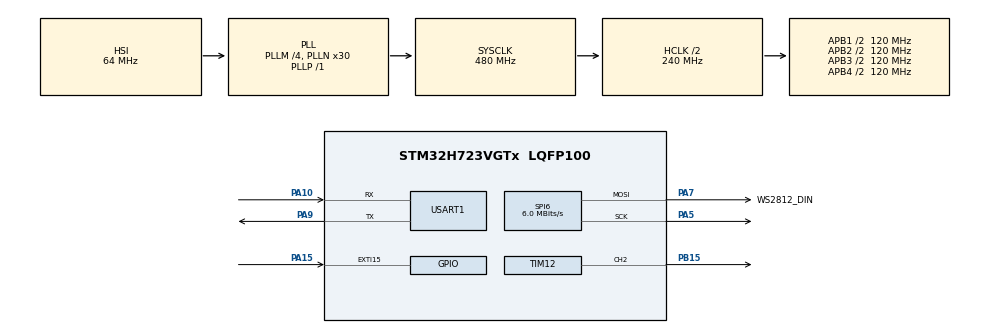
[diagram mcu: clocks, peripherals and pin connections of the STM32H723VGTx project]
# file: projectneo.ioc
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CORTEX_M7.default_mode_Activation=1
Mcu.Family=STM32H7
Mcu.Name=STM32H723VGTx
Mcu.Package=LQFP100
NVIC.EXTI15_10_IRQn=true\:0\:0\:false\:false\:true\:true\:true\:true
NVIC.PriorityGroup=NVIC_PRIORITYGROUP_4
PA10.Mode=Asynchronous
PA10.Signal=USART1_RX
PA13(JTMS/SWDIO).Signal=DEBUG_JTMS-SWDIO
PA14(JTCK/SWCLK).Signal=DEBUG_JTCK-SWCLK
PA15(JTDI).GPIO_PuPd=GPIO_PULLDOWN
PA15(JTDI).Signal=GPXTI15
PA5.GPIO_Speed=GPIO_SPEED_FREQ_HIGH
PA5.Mode=TX_Only_Simplex_Unidirect_Master
PA5.Signal=SPI6_SCK
PA7.GPIO_Label=WS2812_DIN
PA7.GPIO_Speed=GPIO_SPEED_FREQ_HIGH
PA7.Mode=TX_Only_Simplex_Unidirect_Master
PA7.Signal=SPI6_MOSI
PA9.Mode=Asynchronous
PA9.Signal=USART1_TX
PB15.Signal=S_TIM12_CH2
PH0-OSC_IN.Mode=HSE-External-Oscillator
PH0-OSC_IN.Signal=RCC_OSC_IN
PH1-OSC_OUT.Mode=HSE-External-Oscillator
PH1-OSC_OUT.Signal=RCC_OSC_OUT
ProjectManager.HeapSize=0x200
ProjectManager.StackSize=0x400
ProjectManager.TargetToolchain=CMake
RCC.ADCFreq_Value=129000000
RCC.APB1Freq_Value=120000000
RCC.APB2Freq_Value=120000000
RCC.APB3Freq_Value=120000000
RCC.APB4Freq_Value=120000000
RCC.CortexFreq_Value=480000000
RCC.D1PPRE=RCC_APB3_DIV2
RCC.D2PPRE1=RCC_APB1_DIV2
RCC.D2PPRE2=RCC_APB2_DIV2
RCC.D3PPRE=RCC_APB4_DIV2
RCC.DIVM1=4
RCC.DIVN1=30
RCC.DIVP1=1
RCC.HCLKFreq_Value=240000000
RCC.HPRE=RCC_HCLK_DIV2
RCC.HSE_VALUE=24000000
RCC.PLL2FRACN=0
RCC.PLL3FRACN=0
RCC.PLLFRACN=0
RCC.SPI6CLockSelection=RCC_SPI6CLKSOURCE_HSE
RCC.SYSCLKFreq_VALUE=480000000
RCC.SYSCLKSource=RCC_SYSCLKSOURCE_PLLCLK
RCC.USBFreq_Value=240000000
SH.S_TIM12_CH2.0=TIM12_CH2,PWM Generation2 CH2
SPI6.BaudRatePrescaler=SPI_BAUDRATEPRESCALER_4
SPI6.CalculateBaudRate=6.0 MBits/s
SPI6.DataSize=SPI_DATASIZE_8BIT
SPI6.Direction=SPI_DIRECTION_2LINES_TXONLY
SPI6.Mode=SPI_MODE_MASTER
SPI6.VirtualType=VM_MASTER
TIM12.Channel-PWM\ Generation2\ CH2=TIM_CHANNEL_2
TIM12.Prescaler=59
USART1.VirtualMode-Asynchronous=VM_ASYNC
VP_MEMORYMAP_VS_MEMORYMAP.Mode=CurAppReg
board=custom

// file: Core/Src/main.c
/* USER CODE BEGIN Header */
/**
  ******************************************************************************
  * @file           : main.c
  * @brief          : Main program body
  ******************************************************************************
  * @attention
  *
  * Copyright (c) 2026 STMicroelectronics.
  * All rights reserved.
  *
  * This software is licensed under terms that can be found in the LICENSE file
  * in the root directory of this software component.
  * If no LICENSE file comes with this software, it is provided AS-IS.
  *
  ******************************************************************************
  */
/* USER CODE END Header */
#include "main.h"

/* USER CODE BEGIN Includes */
#include "../../App/ws2812_encode.h"
/* USER CODE END Includes */

SPI_HandleTypeDef hspi6;

TIM_HandleTypeDef htim12;

UART_HandleTypeDef huart1;

void SystemClock_Config(void);
static void MPU_Config(void);
static void MX_GPIO_Init(void);
static void MX_TIM12_Init(void);
static void MX_USART1_UART_Init(void);
static void MX_SPI6_Init(void);

/* USER CODE BEGIN 0 */
volatile uint32_t flag=0;
/* USER CODE END 0 */

int main(void)
{

  /* MPU Configuration--------------------------------------------------------*/
  MPU_Config();

  /* MCU Configuration--------------------------------------------------------*/

  /* Reset of all peripherals, Initializes the Flash interface and the Systick. */
  HAL_Init();

  /* Configure the system clock */
  SystemClock_Config();

  /* Initialize all configured peripherals */
  MX_GPIO_Init();
  MX_TIM12_Init();
  MX_USART1_UART_Init();
  MX_SPI6_Init();
  /* USER CODE BEGIN 2 */
  uint8_t rx_byte;
  uint8_t tx_byte='D';
  uint8_t spi_buf[24];
  uint32_t last_color_tick=0;
  uint8_t color_idx=0;
  const uint8_t palette[4][3] = { {0,255,0}, {255,0,0}, {0,0,255}, {128,255,0} };//GRB顺序，红绿蓝橙
  uint32_t beep_until=0;
  uint8_t tone_idx=0;//音调编号
  HAL_TIM_PWM_Start(&htim12, TIM_CHANNEL_2);
  __HAL_TIM_SET_COMPARE(&htim12, TIM_CHANNEL_2, 0);//CRR=0时静音
  /* USER CODE END 2 */

  /* Infinite loop */
  /* USER CODE BEGIN WHILE */
  while (1)
  {
    if (flag == 1) {
      HAL_UART_Transmit(&huart1,&tx_byte, 1, 100);
      flag = 0;
      tone_idx= tone_idx^1;//tone_idx与1做异或，在0与1切换
      if (tone_idx) {
        __HAL_TIM_SET_AUTORELOAD(&htim12,1999);//2kHz=4mHz/2000
        __HAL_TIM_SET_COMPARE(&htim12, TIM_CHANNEL_2, 1000);//占空比50%
      }else {
        __HAL_TIM_SET_AUTORELOAD(&htim12,999);//4kHz=4mHz/1000
        __HAL_TIM_SET_COMPARE(&htim12, TIM_CHANNEL_2, 700);//占空比70%
      }
      beep_until = HAL_GetTick()+200;
    }
    if (beep_until!=0&&HAL_GetTick()>=beep_until) {
      __HAL_TIM_SET_COMPARE(&htim12, TIM_CHANNEL_2, 0);
      beep_until = 0;
    }
      HAL_StatusTypeDef st=HAL_UART_Receive(&huart1, &rx_byte, 1, 100);
      if (st==HAL_OK) {
        HAL_UART_Transmit(&huart1, &rx_byte, 1, 100);
      }
    if (HAL_GetTick()-last_color_tick>1000)
    {
     last_color_tick=HAL_GetTick();
      ws2812_encode(palette[color_idx][0],palette[color_idx][1],palette[color_idx][2],spi_buf);
      HAL_SPI_Transmit(&hspi6,spi_buf,24,100);
      uint32_t t0=HAL_GetTick();
      while(HAL_GetTick()-t0<2) {}
      color_idx=(color_idx+1)%4;
    }

    /* USER CODE END WHILE */

  }
}

void SystemClock_Config(void)
{
  RCC_OscInitTypeDef RCC_OscInitStruct = {0};
  RCC_ClkInitTypeDef RCC_ClkInitStruct = {0};

  /** Supply configuration update enable
  */
  HAL_PWREx_ConfigSupply(PWR_LDO_SUPPLY);

  /** Configure the main internal regulator output voltage
  */
  __HAL_PWR_VOLTAGESCALING_CONFIG(PWR_REGULATOR_VOLTAGE_SCALE0);

  while(!__HAL_PWR_GET_FLAG(PWR_FLAG_VOSRDY)) {}

  /** Initializes the RCC Oscillators according to the specified parameters
  * in the RCC_OscInitTypeDef structure.
  */
  RCC_OscInitStruct.OscillatorType = RCC_OSCILLATORTYPE_HSI|RCC_OSCILLATORTYPE_HSE;
  RCC_OscInitStruct.HSEState = RCC_HSE_ON;
  RCC_OscInitStruct.HSIState = RCC_HSI_DIV1;
  RCC_OscInitStruct.HSICalibrationValue = 64;
  RCC_OscInitStruct.PLL.PLLState = RCC_PLL_ON;
  RCC_OscInitStruct.PLL.PLLSource = RCC_PLLSOURCE_HSI;
  RCC_OscInitStruct.PLL.PLLM = 4;
  RCC_OscInitStruct.PLL.PLLN = 30;
  RCC_OscInitStruct.PLL.PLLP = 1;
  RCC_OscInitStruct.PLL.PLLQ = 2;
  RCC_OscInitStruct.PLL.PLLR = 2;
  RCC_OscInitStruct.PLL.PLLRGE = RCC_PLL1VCIRANGE_3;
  RCC_OscInitStruct.PLL.PLLVCOSEL = RCC_PLL1VCOWIDE;
  RCC_OscInitStruct.PLL.PLLFRACN = 0;
  if (HAL_RCC_OscConfig(&RCC_OscInitStruct) != HAL_OK)
  {
    Error_Handler();
  }

  /** Initializes the CPU, AHB and APB buses clocks
  */
  RCC_ClkInitStruct.ClockType = RCC_CLOCKTYPE_HCLK|RCC_CLOCKTYPE_SYSCLK
                              |RCC_CLOCKTYPE_PCLK1|RCC_CLOCKTYPE_PCLK2
                              |RCC_CLOCKTYPE_D3PCLK1|RCC_CLOCKTYPE_D1PCLK1;
  RCC_ClkInitStruct.SYSCLKSource = RCC_SYSCLKSOURCE_PLLCLK;
  RCC_ClkInitStruct.SYSCLKDivider = RCC_SYSCLK_DIV1;
  RCC_ClkInitStruct.AHBCLKDivider = RCC_HCLK_DIV2;
  RCC_ClkInitStruct.APB3CLKDivider = RCC_APB3_DIV2;
  RCC_ClkInitStruct.APB1CLKDivider = RCC_APB1_DIV2;
  RCC_ClkInitStruct.APB2CLKDivider = RCC_APB2_DIV2;
  RCC_ClkInitStruct.APB4CLKDivider = RCC_APB4_DIV2;

  if (HAL_RCC_ClockConfig(&RCC_ClkInitStruct, FLASH_LATENCY_3) != HAL_OK)
  {
    Error_Handler();
  }
}

static void MX_SPI6_Init(void)
{

  /* SPI6 parameter configuration*/
  hspi6.Instance = SPI6;
  hspi6.Init.Mode = SPI_MODE_MASTER;
  hspi6.Init.Direction = SPI_DIRECTION_2LINES_TXONLY;
  hspi6.Init.DataSize = SPI_DATASIZE_8BIT;
  hspi6.Init.CLKPolarity = SPI_POLARITY_LOW;
  hspi6.Init.CLKPhase = SPI_PHASE_1EDGE;
  hspi6.Init.NSS = SPI_NSS_SOFT;
  hspi6.Init.BaudRatePrescaler = SPI_BAUDRATEPRESCALER_4;
  hspi6.Init.FirstBit = SPI_FIRSTBIT_MSB;
  hspi6.Init.TIMode = SPI_TIMODE_DISABLE;
  hspi6.Init.CRCCalculation = SPI_CRCCALCULATION_DISABLE;
  hspi6.Init.CRCPolynomial = 0x0;
  hspi6.Init.NSSPMode = SPI_NSS_PULSE_ENABLE;
  hspi6.Init.NSSPolarity = SPI_NSS_POLARITY_LOW;
  hspi6.Init.FifoThreshold = SPI_FIFO_THRESHOLD_01DATA;
  hspi6.Init.TxCRCInitializationPattern = SPI_CRC_INITIALIZATION_ALL_ZERO_PATTERN;
  hspi6.Init.RxCRCInitializationPattern = SPI_CRC_INITIALIZATION_ALL_ZERO_PATTERN;
  hspi6.Init.MasterSSIdleness = SPI_MASTER_SS_IDLENESS_00CYCLE;
  hspi6.Init.MasterInterDataIdleness = SPI_MASTER_INTERDATA_IDLENESS_00CYCLE;
  hspi6.Init.MasterReceiverAutoSusp = SPI_MASTER_RX_AUTOSUSP_DISABLE;
  hspi6.Init.MasterKeepIOState = SPI_MASTER_KEEP_IO_STATE_DISABLE;
  hspi6.Init.IOSwap = SPI_IO_SWAP_DISABLE;
  if (HAL_SPI_Init(&hspi6) != HAL_OK)
  {
    Error_Handler();
  }

}

static void MX_TIM12_Init(void)
{

  TIM_MasterConfigTypeDef sMasterConfig = {0};
  TIM_OC_InitTypeDef sConfigOC = {0};

  htim12.Instance = TIM12;
  htim12.Init.Prescaler = 59;
  htim12.Init.CounterMode = TIM_COUNTERMODE_UP;
  htim12.Init.Period = 65535;
  htim12.Init.ClockDivision = TIM_CLOCKDIVISION_DIV1;
  htim12.Init.AutoReloadPreload = TIM_AUTORELOAD_PRELOAD_DISABLE;
  if (HAL_TIM_PWM_Init(&htim12) != HAL_OK)
  {
    Error_Handler();
  }
  sMasterConfig.MasterOutputTrigger = TIM_TRGO_RESET;
  sMasterConfig.MasterSlaveMode = TIM_MASTERSLAVEMODE_DISABLE;
  if (HAL_TIMEx_MasterConfigSynchronization(&htim12, &sMasterConfig) != HAL_OK)
  {
    Error_Handler();
  }
  sConfigOC.OCMode = TIM_OCMODE_PWM1;
  sConfigOC.Pulse = 0;
  sConfigOC.OCPolarity = TIM_OCPOLARITY_HIGH;
  sConfigOC.OCFastMode = TIM_OCFAST_DISABLE;
  if (HAL_TIM_PWM_ConfigChannel(&htim12, &sConfigOC, TIM_CHANNEL_2) != HAL_OK)
  {
    Error_Handler();
  }
  HAL_TIM_MspPostInit(&htim12);

}

static void MX_USART1_UART_Init(void)
{

  huart1.Instance = USART1;
  huart1.Init.BaudRate = 115200;
  huart1.Init.WordLength = UART_WORDLENGTH_8B;
  huart1.Init.StopBits = UART_STOPBITS_1;
  huart1.Init.Parity = UART_PARITY_NONE;
  huart1.Init.Mode = UART_MODE_TX_RX;
  huart1.Init.HwFlowCtl = UART_HWCONTROL_NONE;
  huart1.Init.OverSampling = UART_OVERSAMPLING_16;
  huart1.Init.OneBitSampling = UART_ONE_BIT_SAMPLE_DISABLE;
  huart1.Init.ClockPrescaler = UART_PRESCALER_DIV1;
  huart1.AdvancedInit.AdvFeatureInit = UART_ADVFEATURE_NO_INIT;
  if (HAL_UART_Init(&huart1) != HAL_OK)
  {
    Error_Handler();
  }
  if (HAL_UARTEx_SetTxFifoThreshold(&huart1, UART_TXFIFO_THRESHOLD_1_8) != HAL_OK)
  {
    Error_Handler();
  }
  if (HAL_UARTEx_SetRxFifoThreshold(&huart1, UART_RXFIFO_THRESHOLD_1_8) != HAL_OK)
  {
    Error_Handler();
  }
  if (HAL_UARTEx_DisableFifoMode(&huart1) != HAL_OK)
  {
    Error_Handler();
  }

}

static void MX_GPIO_Init(void)
{
  GPIO_InitTypeDef GPIO_InitStruct = {0};

  /* GPIO Ports Clock Enable */
  __HAL_RCC_GPIOH_CLK_ENABLE();
  __HAL_RCC_GPIOA_CLK_ENABLE();
  __HAL_RCC_GPIOB_CLK_ENABLE();

  /*Configure GPIO pin : PA15 */
  GPIO_InitStruct.Pin = GPIO_PIN_15;
  GPIO_InitStruct.Mode = GPIO_MODE_IT_RISING;
  GPIO_InitStruct.Pull = GPIO_PULLDOWN;
  HAL_GPIO_Init(GPIOA, &GPIO_InitStruct);

  /* EXTI interrupt init*/
  HAL_NVIC_SetPriority(EXTI15_10_IRQn, 0, 0);
  HAL_NVIC_EnableIRQ(EXTI15_10_IRQn);

}

/* USER CODE BEGIN 4 */
void HAL_GPIO_EXTI_Callback(uint16_t GPIO_Pin) {
  if (GPIO_Pin == GPIO_PIN_15) {
    static uint32_t last_tick = 0;
     uint32_t now = HAL_GetTick();
    if (now-last_tick<100) {
      last_tick = now;
      return ;
    }else {
      last_tick = now;
      flag = 1;
    }
  }

}
/* USER CODE END 4 */

 /* MPU Configuration */

void MPU_Config(void)
{
  MPU_Region_InitTypeDef MPU_InitStruct = {0};

  /* Disables the MPU */
  HAL_MPU_Disable();

  /** Initializes and configures the Region and the memory to be protected
  */
  MPU_InitStruct.Enable = MPU_REGION_ENABLE;
  MPU_InitStruct.Number = MPU_REGION_NUMBER0;
  MPU_InitStruct.BaseAddress = 0x0;
  MPU_InitStruct.Size = MPU_REGION_SIZE_4GB;
  MPU_InitStruct.SubRegionDisable = 0x87;
  MPU_InitStruct.TypeExtField = MPU_TEX_LEVEL0;
  MPU_InitStruct.AccessPermission = MPU_REGION_NO_ACCESS;
  MPU_InitStruct.DisableExec = MPU_INSTRUCTION_ACCESS_DISABLE;
  MPU_InitStruct.IsShareable = MPU_ACCESS_SHAREABLE;
  MPU_InitStruct.IsCacheable = MPU_ACCESS_NOT_CACHEABLE;
  MPU_InitStruct.IsBufferable = MPU_ACCESS_NOT_BUFFERABLE;

  HAL_MPU_ConfigRegion(&MPU_InitStruct);
  /* Enables the MPU */
  HAL_MPU_Enable(MPU_PRIVILEGED_DEFAULT);

}

void Error_Handler(void)
{
  __disable_irq();
  while (1)
  {
  }
}
